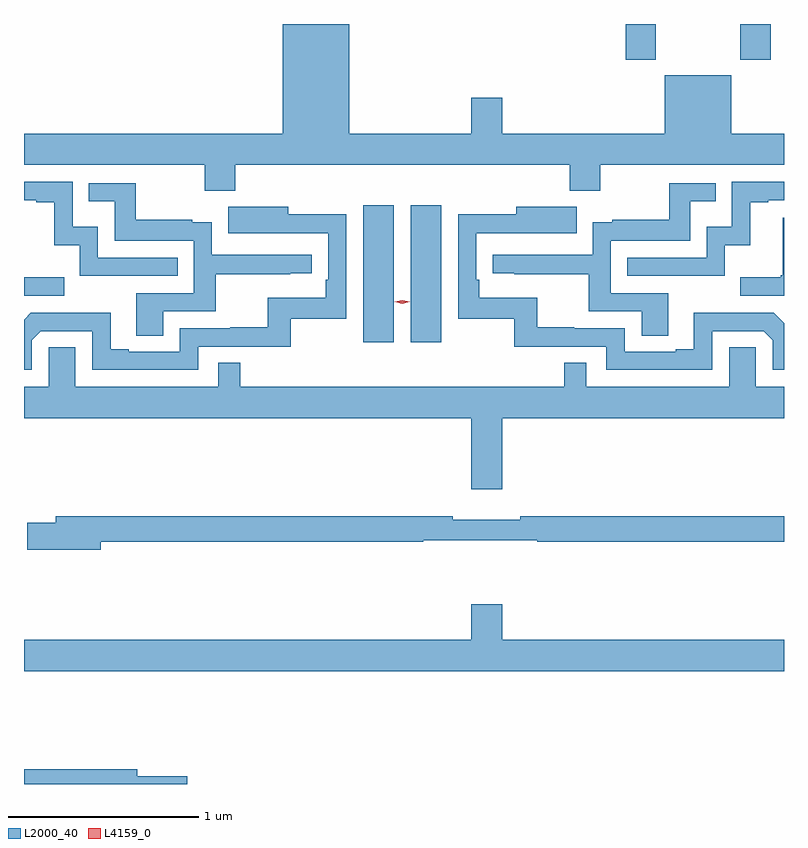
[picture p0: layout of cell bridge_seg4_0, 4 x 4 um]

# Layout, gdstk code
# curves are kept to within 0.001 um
import gdstk
lib = gdstk.Library(unit=1e-6, precision=1e-09)
def R(c, l, rs):  # rectangles x0, y0, x1, y1
    for r in rs: c.add(gdstk.rectangle(r[:2], r[2:], *l))
def P(c, l, *ps):  # polygons
    for p in ps: c.add(gdstk.Polygon(p, *l))
L2000_40 = (2000, 40)
L4159_0 = (4159, 0)

bridge_seg4_0 = lib.new_cell('bridge_seg4_0')
R(bridge_seg4_0, L2000_40, [(1087.517,805.212,1087.678,805.933), (1087.766,805.212,1087.927,805.933), (1085.731,805.455,1085.944,805.552), (1088.897,806.697,1089.057,806.886), (1089.502,806.697,1089.662,806.886)])
P(bridge_seg4_0, L2000_40, [(1086.842,806.144),(1088.603,806.144),(1088.603,806.009),(1088.763,806.009),(1088.763,806.144),(1089.731,806.144),(1089.731,806.308),(1089.454,806.308),(1089.454,806.617),(1089.104,806.617),(1089.104,806.308),(1088.248,806.308),(1088.248,806.497),(1088.084,806.497),(1088.084,806.308),(1087.444,806.308),(1087.444,806.886),(1087.094,806.886),(1087.094,806.308),(1085.731,806.308),(1085.731,806.144),(1086.682,806.144),(1086.682,806.009),(1086.842,806.009)],
  [(1086.539,805.656),(1086.12,805.656),(1086.12,805.819),(1085.988,805.819),(1085.988,806.055),(1085.731,806.055),(1085.731,805.959),(1085.795,805.959),(1085.795,805.947),(1085.891,805.947),(1085.891,805.721),(1086.024,805.721),(1086.024,805.56),(1086.539,805.56)],
  [(1089.42,805.721),(1089.553,805.721),(1089.553,805.947),(1089.649,805.947),(1089.649,805.959),(1089.731,805.959),(1089.731,806.055),(1089.456,806.055),(1089.456,805.819),(1089.324,805.819),(1089.324,805.656),(1088.905,805.656),(1088.905,805.56),(1089.42,805.56)],
  [(1086.463,805.374),(1086.74,805.374),(1086.74,805.57),(1087.133,805.57),(1087.133,805.575),(1087.246,805.575),(1087.246,805.671),(1086.72,805.671),(1086.72,805.843),(1086.617,805.843),(1086.617,805.855),(1086.319,805.855),(1086.319,806.049),(1086.073,806.049),(1086.073,805.952),(1086.208,805.952),(1086.208,805.746),(1086.624,805.746),(1086.624,805.47),(1086.323,805.47),(1086.323,805.246),(1086.463,805.246)],
  [(1089.121,805.47),(1088.82,805.47),(1088.82,805.746),(1089.237,805.746),(1089.237,805.952),(1089.371,805.952),(1089.371,806.049),(1089.126,806.049),(1089.126,805.855),(1088.827,805.855),(1088.827,805.843),(1088.724,805.843),(1088.724,805.671),(1088.199,805.671),(1088.199,805.575),(1088.311,805.575),(1088.311,805.57),(1088.704,805.57),(1088.704,805.374),(1088.981,805.374),(1088.981,805.246),(1089.121,805.246)],
  [(1085.772,805.221),(1085.82,805.269),(1086.09,805.269),(1086.09,805.065),(1086.648,805.065),(1086.648,805.188),(1087.135,805.188),(1087.135,805.335),(1087.428,805.335),(1087.428,805.886),(1087.123,805.886),(1087.123,805.924),(1086.805,805.924),(1086.805,805.784),(1087.332,805.785),(1087.332,805.54),(1087.319,805.54),(1087.319,805.444),(1087.014,805.444),(1087.014,805.289),(1086.817,805.289),(1086.817,805.284),(1086.552,805.284),(1086.552,805.161),(1086.283,805.161),(1086.283,805.174),(1086.187,805.174),(1086.187,805.367),(1085.982,805.367),(1085.982,805.365),(1085.766,805.365),(1085.731,805.33),(1085.731,805.065),(1085.772,805.065)],
  [(1089.354,805.269),(1089.624,805.269),(1089.672,805.221),(1089.672,805.065),(1089.731,805.065),(1089.731,805.312),(1089.678,805.365),(1089.462,805.365),(1089.462,805.367),(1089.257,805.367),(1089.257,805.174),(1089.161,805.174),(1089.161,805.161),(1088.892,805.161),(1088.892,805.284),(1088.627,805.284),(1088.627,805.289),(1088.431,805.289),(1088.431,805.444),(1088.126,805.444),(1088.126,805.54),(1088.112,805.54),(1088.112,805.785),(1088.639,805.784),(1088.639,805.924),(1088.321,805.924),(1088.321,805.886),(1088.016,805.886),(1088.016,805.335),(1088.31,805.335),(1088.31,805.188),(1088.796,805.188),(1088.796,805.065),(1089.354,805.065)],
  [(1089.731,805.867),(1089.725,805.867),(1089.725,805.564),(1089.714,805.564),(1089.714,805.552),(1089.501,805.552),(1089.501,805.455),(1089.731,805.455)],
  [(1088.248,804.812),(1089.731,804.812),(1089.731,804.976),(1089.582,804.976),(1089.582,805.184),(1089.443,805.184),(1089.443,804.976),(1088.691,804.976),(1088.691,805.103),(1088.575,805.103),(1088.575,804.976),(1086.869,804.976),(1086.869,805.103),(1086.753,805.103),(1086.753,804.976),(1086.001,804.976),(1086.001,805.184),(1085.862,805.184),(1085.862,804.976),(1085.731,804.976),(1085.731,804.812),(1088.084,804.812),(1088.084,804.438),(1088.248,804.438)],
  [(1086.136,804.16),(1087.832,804.16),(1087.832,804.168),(1088.432,804.168),(1088.432,804.16),(1089.731,804.16),(1089.731,804.296),(1088.344,804.296),(1088.344,804.277),(1087.988,804.277),(1087.988,804.296),(1085.897,804.296),(1085.897,804.26),(1085.748,804.26),(1085.748,804.118),(1086.136,804.118)],
  [(1089.731,803.644),(1088.248,803.644),(1088.248,803.833),(1088.084,803.833),(1088.084,803.644),(1085.731,803.644),(1085.731,803.48),(1089.731,803.48)],
  [(1086.589,802.928),(1086.328,802.928),(1086.328,802.964),(1085.731,802.964),(1085.731,802.886),(1086.589,802.886)])
P(bridge_seg4_0, L4159_0, [(1087.722,805.413),(1087.682,805.423),(1087.682,805.423),(1087.682,805.423),(1087.722,805.433),(1087.762,805.423),(1087.762,805.423),(1087.762,805.423)])

lib.write_gds('bridge_seg4_0.gds')
